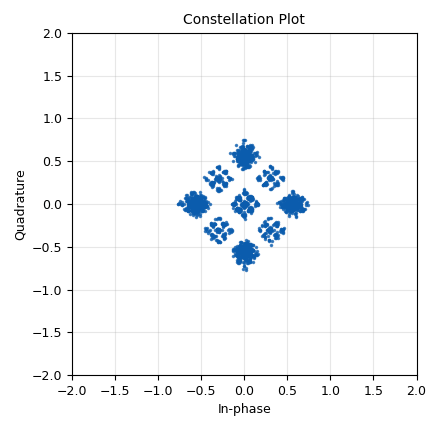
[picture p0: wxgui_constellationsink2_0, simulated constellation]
<?xml version='1.0' encoding='utf-8'?>
<?grc format='1' created='3.7.11'?>
<flow_graph>
<block>
<key>options</key>
<param><key>id</key><value>qpsk_tx_uhd</value></param>
<param><key>category</key><value>Custom</value></param>
<param><key>generate_options</key><value>wx_gui</value></param>
</block>
<block>
<key>variable</key>
<param><key>id</key><value>freq</value></param>
<param><key>value</key><value>2.421e9</value></param>
</block>
<block>
<key>variable</key>
<param><key>id</key><value>gain</value></param>
<param><key>value</key><value>30</value></param>
</block>
<block>
<key>variable</key>
<param><key>id</key><value>samp_rate</value></param>
<param><key>value</key><value>320e3</value></param>
</block>
<block>
<key>analog_random_source_x</key>
<param><key>id</key><value>analog_random_source_x_0</value></param>
<param><key>max</key><value>255</value></param>
<param><key>min</key><value>0</value></param>
<param><key>num_samps</key><value>10000000</value></param>
<param><key>type</key><value>byte</value></param>
<param><key>repeat</key><value>True</value></param>
</block>
<block>
<key>blocks_multiply_const_vxx</key>
<param><key>id</key><value>blocks_multiply_const_vxx_0</value></param>
<param><key>const</key><value>0.5</value></param>
<param><key>type</key><value>complex</value></param>
</block>
<block>
<key>digital_psk_mod</key>
<param><key>id</key><value>digital_psk_mod_0</value></param>
<param><key>differential</key><value>True</value></param>
<param><key>excess_bw</key><value>350e-3</value></param>
<param><key>mod_code</key><value>"gray"</value></param>
<param><key>constellation_points</key><value>4</value></param>
<param><key>samples_per_symbol</key><value>2</value></param>
</block>
<block>
<key>qtgui_const_sink_x</key>
<param><key>id</key><value>qtgui_const_sink_x_0</value></param>
<param><key>_enabled</key><value>0</value></param>
<param><key>name</key><value>QT GUI Plot</value></param>
<param><key>size</key><value>1024</value></param>
<param><key>type</key><value>complex</value></param>
</block>
<block>
<key>uhd_usrp_sink</key>
<param><key>id</key><value>uhd_usrp_sink_0</value></param>
<param><key>ant0</key><value>"TX/RX"</value></param>
<param><key>bw0</key><value>samp_rate</value></param>
<param><key>center_freq0</key><value>freq</value></param>
<param><key>norm_gain0</key><value>False</value></param>
<param><key>gain0</key><value>gain</value></param>
<param><key>clock_rate</key><value>0.0</value></param>
<param><key>dev_args</key><value>""</value></param>
<param><key>_enabled</key><value>False</value></param>
<param><key>type</key><value>fc32</value></param>
<param><key>samp_rate</key><value>samp_rate</value></param>
<param><key>hide_cmd_port</key><value>False</value></param>
<param><key>hide_lo_controls</key><value>True</value></param>
<param><key>sync</key><value></value></param>
<param><key>len_tag_name</key><value></value></param>
</block>
<block>
<key>wxgui_constellationsink2</key>
<param><key>id</key><value>wxgui_constellationsink2_0</value></param>
<param><key>const_size</key><value>2048</value></param>
<param><key>frame_rate</key><value>5</value></param>
<param><key>gain_mu</key><value>0.005</value></param>
<param><key>loop_bw</key><value>6.28/100.0</value></param>
<param><key>M</key><value>4</value></param>
<param><key>fmax</key><value>0.06</value></param>
<param><key>mu</key><value>0.5</value></param>
<param><key>omega_limit</key><value>0.005</value></param>
<param><key>samp_rate</key><value>samp_rate</value></param>
<param><key>symbol_rate</key><value>samp_rate/4.</value></param>
<param><key>theta</key><value>0</value></param>
<param><key>title</key><value>Constellation Plot</value></param>
</block>
<connection><source_block_id>analog_random_source_x_0</source_block_id><sink_block_id>digital_psk_mod_0</sink_block_id><source_key>0</source_key><sink_key>0</sink_key></connection>
<connection><source_block_id>blocks_multiply_const_vxx_0</source_block_id><sink_block_id>qtgui_const_sink_x_0</sink_block_id><source_key>0</source_key><sink_key>0</sink_key></connection>
<connection><source_block_id>blocks_multiply_const_vxx_0</source_block_id><sink_block_id>uhd_usrp_sink_0</sink_block_id><source_key>0</source_key><sink_key>0</sink_key></connection>
<connection><source_block_id>blocks_multiply_const_vxx_0</source_block_id><sink_block_id>wxgui_constellationsink2_0</sink_block_id><source_key>0</source_key><sink_key>0</sink_key></connection>
<connection><source_block_id>digital_psk_mod_0</source_block_id><sink_block_id>blocks_multiply_const_vxx_0</sink_block_id><source_key>0</source_key><sink_key>0</sink_key></connection>
</flow_graph>
